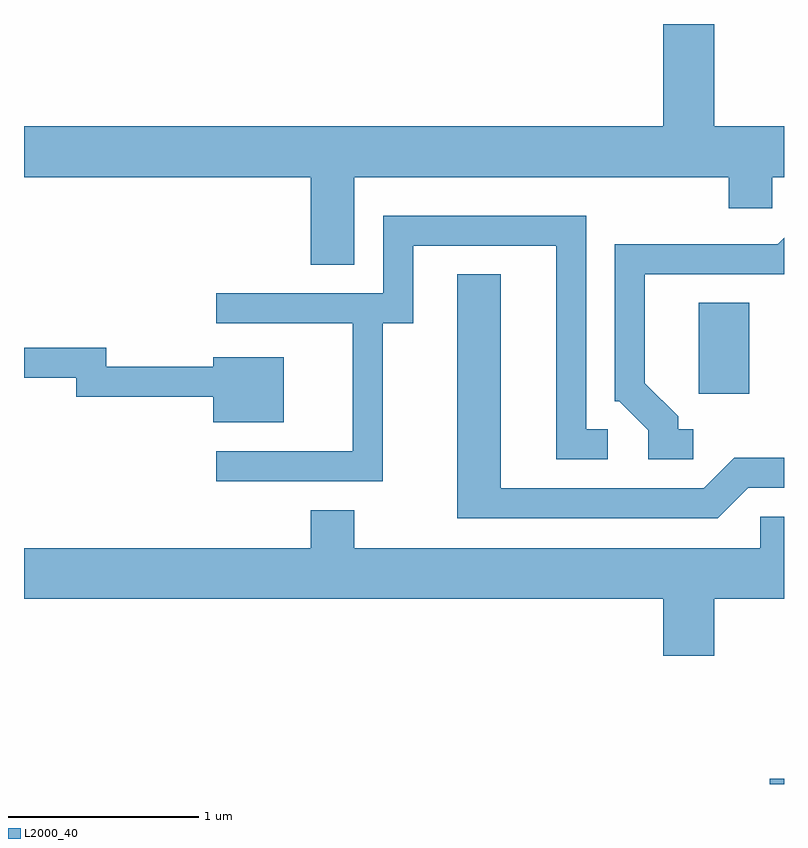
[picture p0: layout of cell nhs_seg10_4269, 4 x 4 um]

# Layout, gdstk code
import gdstk
lib = gdstk.Library(unit=1e-6, precision=1e-09)
def R(c, l, rs):  # rectangles x0, y0, x1, y1
    for r in rs: c.add(gdstk.rectangle(r[:2], r[2:], *l))
def P(c, l, *ps):  # polygons
    for p in ps: c.add(gdstk.Polygon(p, *l))
L2000_40 = (2000, 40)

nhs_seg10_4269 = lib.new_cell('nhs_seg10_4269')
R(nhs_seg10_4269, L2000_40, [(315.536,2088.522,315.611,2088.549), (315.161,2090.576,315.429,2091.054)])
P(nhs_seg10_4269, L2000_40, [(313.349,2091.716),(315.321,2091.716),(315.321,2091.551),(315.549,2091.551),(315.549,2091.716),(315.611,2091.716),(315.611,2091.984),(315.244,2091.984),(315.244,2092.522),(314.976,2092.522),(314.976,2091.984),(311.611,2091.984),(311.611,2091.716),(313.121,2091.716),(313.121,2091.256),(313.349,2091.256)],
  [(313.499,2090.946),(313.659,2090.946),(313.659,2091.356),(314.411,2091.356),(314.411,2090.231),(314.683,2090.231),(314.683,2090.389),(314.569,2090.389),(314.569,2091.514),(313.501,2091.514),(313.501,2091.104),(312.623,2091.104),(312.623,2090.946),(313.341,2090.946),(313.341,2090.274),(312.623,2090.274),(312.623,2090.116),(313.499,2090.116)],
  [(315.133,2090.389),(315.054,2090.389),(315.054,2090.457),(314.879,2090.632),(314.879,2091.206),(315.611,2091.206),(315.611,2091.396),(315.579,2091.364),(314.721,2091.364),(314.721,2090.536),(314.744,2090.536),(314.896,2090.384),(314.896,2090.231),(315.133,2090.231)],
  [(315.422,2090.081),(315.611,2090.081),(315.611,2090.239),(315.349,2090.239),(315.189,2090.079),(314.119,2090.079),(314.119,2091.204),(313.891,2091.204),(313.891,2089.921),(315.262,2089.921)],
  [(312.979,2090.769),(312.606,2090.769),(312.606,2090.719),(312.044,2090.719),(312.044,2090.819),(311.611,2090.819),(311.611,2090.661),(311.886,2090.661),(311.886,2090.561),(312.606,2090.561),(312.606,2090.426),(312.979,2090.426)],
  [(315.244,2089.496),(315.611,2089.496),(315.611,2089.929),(315.486,2089.929),(315.486,2089.764),(313.349,2089.764),(313.349,2089.964),(313.121,2089.964),(313.121,2089.764),(311.611,2089.764),(311.611,2089.496),(314.976,2089.496),(314.976,2089.196),(315.244,2089.196)])

lib.write_gds('nhs_seg10_4269.gds')
